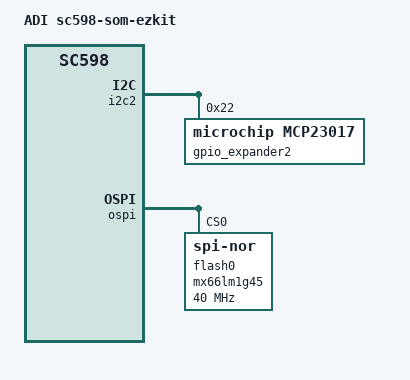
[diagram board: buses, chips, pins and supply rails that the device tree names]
// SPDX-License-Identifier: GPL-2.0-or-later
/*
 * (C) Copyright 2022 - Analog Devices, Inc.
 *
 * Written and/or maintained by Timesys Corporation
 *
 * Contact: Nathan Barrett-Morrison <nathan.morrison@timesys.com>
 * Contact: Greg Malysa <greg.malysa@timesys.com>
 */

/dts-v1/;

#include "sc598-som.dtsi"

/ {
	model = "ADI sc598-som-ezkit";
	compatible = "adi,sc598-som-ezkit", "adi,sc59x";
};

&i2c2{
	gpio_expander2: mcp23017@22 {
		compatible = "microchip,mcp23017";
		reg = <0x22>;
		gpio-controller;
		#gpio-cells = <2>;
		bootph-all;

		eeprom {
			gpio-hog;
			gpios = <0 GPIO_ACTIVE_HIGH>;
			output-low;
			line-name = "eeprom-en";
			bootph-all;
		};

		pushbutton {
			gpio-hog;
			gpios = <1 GPIO_ACTIVE_HIGH>;
			output-low;
			line-name = "pushbutton-en";
			bootph-all;
		};

		microsd {
			gpio-hog;
			gpios = <2 GPIO_ACTIVE_HIGH>;
			output-high;
			line-name = "~microsd-spi";
			bootph-all;
		};

		ftdi {
			gpio-hog;
			gpios = <3 GPIO_ACTIVE_HIGH>;
			output-low;
			line-name = "~ftdi-usb-en";
			bootph-all;
		};

		can {
			gpio-hog;
			gpios = <4 GPIO_ACTIVE_HIGH>;
			output-high;
			line-name = "~can-en";
			bootph-all;
		};

		adau1962 {
			gpio-hog;
			gpios = <6 GPIO_ACTIVE_HIGH>;
			output-low;
			line-name = "adau1962-en";
			bootph-all;
		};

		adau1979 {
			gpio-hog;
			gpios = <7 GPIO_ACTIVE_HIGH>;
			output-low;
			line-name = "adau1979-en";
			bootph-all;
		};

		octal {
			gpio-hog;
			gpios = <8 GPIO_ACTIVE_HIGH>;
			output-low;
			line-name = "octal-spi-cs-en";
			bootph-all;
		};

		spdif-dig {
			gpio-hog;
			gpios = <9 GPIO_ACTIVE_HIGH>;
			output-high;
			line-name = "~spdif-digital-en";
			bootph-all;
		};

		spdif-opt {
			gpio-hog;
			gpios = <10 GPIO_ACTIVE_HIGH>;
			output-high;
			line-name = "~spdif-optical-en";
			bootph-all;
		};

		audio-jack {
			gpio-hog;
			gpios = <11 GPIO_ACTIVE_HIGH>;
			output-high;
			line-name = "audio-jack-sel";
			bootph-all;
		};

		mlb {
			gpio-hog;
			gpios = <12 GPIO_ACTIVE_HIGH>;
			output-high;
			line-name = "~mlb-en";
			bootph-all;
		};

		eth1 {
			gpio-hog;
			gpios = <13 GPIO_ACTIVE_HIGH>;
			output-low;
			line-name = "~eth1-en";
			bootph-all;
		};

		eth1-reset {
			gpio-hog;
			gpios = <14 GPIO_ACTIVE_HIGH>;
			/*
			 * USB0 lines are shared with Eth1 so  Eth PHY must be held in reset
			 * when using the USB
			 */
			output-low;
			line-name = "~eth1-reset";
			bootph-all;
		};

		gige-reset {
			gpio-hog;
			gpios = <15 GPIO_ACTIVE_HIGH>;
			output-high;
			line-name = "~gige-reset";
			bootph-all;
		};
	};
};

&ospi {
	status = "okay";

	clocks = <&clk ADSP_SC598_CLK_OSPI_REFCLK>;

	flash0: mx66lm1g45@0 {
		#address-cells = <1>;
		#size-cells = <1>;
		compatible = "jedec,spi-nor", "mx66lm1g45";
		reg = <0>;

		 /* This is board dependent to some extent.  We've been able to
		    set it higher on some boards */
		spi-max-frequency = <40000000>;

		tshsl-ns = <50>;
		tsd2d-ns = <50>;
		tchsh-ns = <4>;
		tslch-ns = <4>;
		bootph-all;
	};
};
